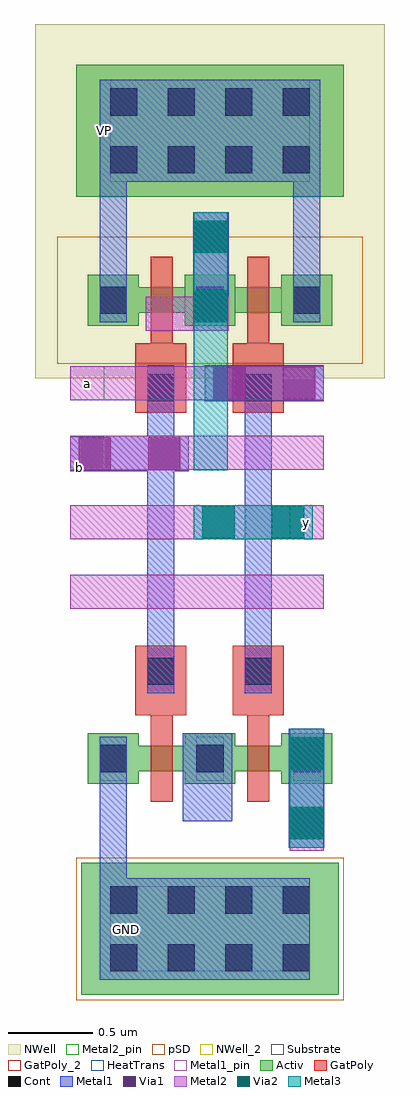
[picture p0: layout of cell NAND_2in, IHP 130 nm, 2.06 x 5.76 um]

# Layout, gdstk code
from math import pi, radians
import gdstk
lib = gdstk.Library(unit=1e-6, precision=1e-09)
def R(c, l, rs):  # rectangles x0, y0, x1, y1
    for r in rs: c.add(gdstk.rectangle(r[:2], r[2:], *l))
def A(c, l, x, y, w, h, nx, ny, dx, dy):  # array of equal rectangles
    R(c, l, [(x+i*dx, y+j*dy, x+i*dx+w, y+j*dy+h) for i in range(nx) for j in range(ny)])
Activ = (1, 0)
GatPoly = (5, 0)
GatPoly_2 = (5, 2)
Cont = (6, 0)
Metal1 = (8, 0)
Metal1_pin = (8, 2)
Metal2 = (10, 0)
Metal2_pin = (10, 2)
pSD = (14, 0)
Via1 = (19, 0)
Via2 = (29, 0)
Metal3 = (30, 0)
NWell = (31, 0)
NWell_2 = (31, 2)
Substrate = (40, 0)
HeatTrans = (51, 0)

nmos = lib.new_cell('nmos')
R(nmos, Activ, [(0,0,0.3,0.3), (0.57,0,0.87,0.3), (0,0.075,0.87,0.225)])
R(nmos, GatPoly, [(0.37,-0.105,0.5,0.405)])
R(nmos, GatPoly_2, [(0.37,-0.105,0.5,0.405)])
R(nmos, Cont, [(0.07,0.07,0.23,0.23), (0.64,0.07,0.8,0.23)])
R(nmos, Metal1, [(0.07,0.02,0.23,0.28), (0.64,0.02,0.8,0.28)])
R(nmos, Metal1_pin, [(0.07,0.02,0.23,0.28), (0.64,0.02,0.8,0.28)])
R(nmos, HeatTrans, [(0.37,-0.105,0.5,0.405)])
nmos.add(gdstk.Label('nmos', (0.435,0.15), layer=63, texttype=0))
nmos.add(gdstk.Label('nmos', (0.435,0.15), layer=51, texttype=0))

ptap1 = lib.new_cell('ptap1')
R(ptap1, Activ, [(0,0,1.52,0.78)])
A(ptap1, Cont, 0.17, 0.14, 0.16, 0.16, 4, 2, 0.34, 0.34)
R(ptap1, Metal1, [(0.17,0.09,1.35,0.69), (0.17,0.14,1.35,0.64)])
R(ptap1, Metal1_pin, [(0.17,0.14,1.35,0.64)])
R(ptap1, pSD, [(-0.03,-0.03,1.55,0.81)])
R(ptap1, Substrate, [(0,0,1.52,0.78)])
ptap1.add(gdstk.Label('sub!', (0.76,0.01), layer=63, texttype=0))
ptap1.add(gdstk.Label('sub!', (0.76,0.01), layer=40, texttype=0))

via = lib.new_cell('Via')
R(via, GatPoly, [(-0.15,-0.15,0.15,0.15)])
R(via, Cont, [(-0.08,-0.08,0.08,0.08)])
R(via, Metal1, [(-0.13,-0.08,0.13,0.08)])

via_7 = lib.new_cell('Via$7')
R(via_7, Metal2, [(-0.35,-0.1,0.35,0.1)])
R(via_7, Via2, [(-0.3,-0.095,-0.11,0.095), (0.11,-0.095,0.3,0.095)])
R(via_7, Metal3, [(-0.35,-0.1,0.35,0.1)])

via_2 = lib.new_cell('Via$2')
R(via_2, Metal1, [(-0.105,-0.35,0.105,0.35)])
R(via_2, Metal2, [(-0.1,-0.35,0.1,0.35)])
R(via_2, Via1, [(-0.095,-0.3,0.095,-0.11), (-0.095,0.11,0.095,0.3)])

via_4 = lib.new_cell('Via$4')
R(via_4, Metal2, [(-0.1,-0.35,0.1,0.35)])
R(via_4, Via2, [(-0.095,-0.3,0.095,-0.11), (-0.095,0.11,0.095,0.3)])
R(via_4, Metal3, [(-0.1,-0.35,0.1,0.35)])

pmos = lib.new_cell('pmos')
R(pmos, Activ, [(0,0,0.3,0.3), (0.57,0,0.87,0.3), (0,0.075,0.87,0.225)])
R(pmos, GatPoly, [(0.37,-0.105,0.5,0.405), (0.37,-0.105,0.5,0.405)])
R(pmos, Cont, [(0.07,0.07,0.23,0.23), (0.64,0.07,0.8,0.23)])
R(pmos, Metal1, [(0.07,0.02,0.23,0.28), (0.07,0.02,0.23,0.28), (0.64,0.02,0.8,0.28), (0.64,0.02,0.8,0.28)])
R(pmos, pSD, [(-0.18,-0.225,1.05,0.525)])
R(pmos, NWell, [(-0.31,-0.31,1.18,0.61)])
R(pmos, Substrate, [(0.57,0,0.87,0.3)])
R(pmos, HeatTrans, [(0.37,-0.105,0.5,0.405)])
pmos.add(gdstk.Label('pmos', (0.435,0.15), layer=63, texttype=0))
pmos.add(gdstk.Label('pmos', (0.435,0.15), layer=51, texttype=0))

ntap1 = lib.new_cell('ntap1')
R(ntap1, Activ, [(0,0,1.58,0.78)])
A(ntap1, Cont, 0.2, 0.14, 0.16, 0.16, 4, 2, 0.34, 0.34)
R(ntap1, Metal1, [(0.2,0.09,1.38,0.69)])
R(ntap1, Metal1_pin, [(0.2,0.09,1.38,0.69), (0.2,0.14,1.38,0.64)])
R(ntap1, NWell, [(-0.24,-0.24,1.82,1.02), (0,0,1.58,0.78)])
R(ntap1, NWell_2, [(0,0,1.58,0.78)])
ntap1.add(gdstk.Label('well', (0.79,0.01), layer=63, texttype=0))
ntap1.add(gdstk.Label('well', (0.79,0.01), layer=31, texttype=0))

nand_2in = lib.new_cell('NAND_2in')
R(nand_2in, GatPoly, [(6.865,7.06,7.165,7.17), (7.44,7.06,7.74,7.17), (6.865,9.145,7.165,9.255), (7.44,9.145,7.74,9.255)])
R(nand_2in, Metal1, [(7.145,6.435,7.435,6.955)])
R(nand_2in, Metal1_pin, [(6.715,5.695,6.915,5.895), (6.715,10.41,6.915,10.61)])
R(nand_2in, Metal2_pin, [(7.775,8.1,7.975,8.3), (6.48,8.505,6.68,8.705), (6.48,8.92,6.68,9.12)])
nand_2in.add(gdstk.FlexPath([(6.735,6.1),(6.735,5.5)], 0.16, ends="flush", simple_path=True, layer=8, datatype=0))  # Metal1
nand_2in.add(gdstk.FlexPath([(7.875,6.63),(7.875,6.63)], 0.16, ends="flush", simple_path=True, layer=8, datatype=0))  # Metal1
nand_2in.add(gdstk.FlexPath([(6.735,6.675),(6.735,6.1)], 0.16, ends="flush", simple_path=True, layer=8, datatype=0))  # Metal1
nand_2in.add(gdstk.FlexPath([(7.015,7.45),(7.015,8.76)], 0.16, ends="flush", simple_path=True, layer=8, datatype=0))  # Metal1
nand_2in.add(gdstk.FlexPath([(7.59,7.45),(7.59,8.63)], 0.16, ends="flush", simple_path=True, layer=8, datatype=0))  # Metal1
nand_2in.add(gdstk.FlexPath([(7.875,10.21),(7.875,10.81)], 0.16, ends="flush", simple_path=True, layer=8, datatype=0))  # Metal1
nand_2in.add(gdstk.FlexPath([(6.735,10.21),(6.735,10.81)], 0.16, ends="flush", simple_path=True, layer=8, datatype=0))  # Metal1
nand_2in.add(gdstk.FlexPath([(7.015,8.73),(7.015,8.73)], 0.16, ends="flush", simple_path=True, layer=8, datatype=0))  # Metal1
nand_2in.add(gdstk.FlexPath([(7.59,8.515),(7.59,8.865)], 0.16, ends="flush", simple_path=True, layer=8, datatype=0))  # Metal1
nand_2in.add(gdstk.FlexPath([(7.015,8.865),(7.015,8.645)], 0.16, ends="flush", simple_path=True, layer=8, datatype=0))  # Metal1
nand_2in.add(gdstk.FlexPath([(7.875,9.64),(7.875,10.81)], 0.16, ends="flush", simple_path=True, layer=8, datatype=0))  # Metal1
nand_2in.add(gdstk.FlexPath([(6.735,9.64),(6.735,10.81)], 0.16, ends="flush", simple_path=True, layer=8, datatype=0))  # Metal1
nand_2in.add(gdstk.FlexPath([(7.875,6.63),(7.875,6.63)], 0.2, ends="flush", simple_path=True, layer=10, datatype=0))  # Metal2
nand_2in.add(gdstk.FlexPath([(6.48,8.2),(7.975,8.2)], 0.2, ends="flush", simple_path=True, layer=10, datatype=0))  # Metal2
nand_2in.add(gdstk.FlexPath([(6.48,8.61),(7.975,8.61)], 0.2, ends="flush", simple_path=True, layer=10, datatype=0))  # Metal2
nand_2in.add(gdstk.FlexPath([(6.48,7.79),(7.975,7.79)], 0.2, ends="flush", simple_path=True, layer=10, datatype=0))  # Metal2
nand_2in.add(gdstk.FlexPath([(6.48,9.02),(7.975,9.02)], 0.2, ends="flush", simple_path=True, layer=10, datatype=0))  # Metal2
nand_2in.add(gdstk.FlexPath([(7.415,9.43),(6.925,9.43)], 0.2, ends="flush", simple_path=True, layer=10, datatype=0))  # Metal2
nand_2in.add(gdstk.FlexPath([(7.875,6.36),(7.875,6.26)], 0.2, ends="flush", simple_path=True, layer=10, datatype=0))  # Metal2
nand_2in.add(gdstk.FlexPath([(7.31,9.45),(7.31,8.505)], 0.2, ends="flush", simple_path=True, layer=30, datatype=0))  # Metal3
nand_2in.add(gdstk.FlexPath([(7.02,9.255),(7.02,9.255)], 0.16, ends="flush", simple_path=True, layer=5, datatype=0))  # GatPoly
nand_2in.add(gdstk.Reference(nmos, (6.585,6.655)))
nand_2in.add(gdstk.Reference(nmos, (7.155,6.655)))
nand_2in.add(gdstk.Reference(ptap1, (6.545,5.41)))
nand_2in.add(gdstk.Reference(via, (7.59,7.32), rotation=3*pi/2))
nand_2in.add(gdstk.Reference(via, (7.015,7.32), rotation=3*pi/2))
nand_2in.add(gdstk.Reference(via_7, (7.56,8.2)))
nand_2in.add(gdstk.Reference(via_2, (6.83,8.605), rotation=3*pi/2))
nand_2in.add(gdstk.Reference(via_4, (7.875,6.63), rotation=pi))
nand_2in.add(gdstk.Reference(via_4, (7.31,9.68), rotation=pi))
nand_2in.add(gdstk.Reference(via_2, (7.31,9.68), rotation=pi))
nand_2in.add(gdstk.Reference(via_2, (7.625,9.02), rotation=3*pi/2))
nand_2in.add(gdstk.Reference(via, (7.59,8.995), rotation=pi/2))
nand_2in.add(gdstk.Reference(pmos, (7.155,9.36)))
nand_2in.add(gdstk.Reference(via, (7.015,8.995), rotation=pi/2))
nand_2in.add(gdstk.Reference(ntap1, (6.515,10.12)))
nand_2in.add(gdstk.Reference(pmos, (6.585,9.36)))
nand_2in.add(gdstk.Reference(via_2, (7.875,6.63), rotation=pi))
nand_2in.add(gdstk.Label('y', (7.875,8.2), layer=10, texttype=25))
nand_2in.add(gdstk.Label('b', (6.535,8.52), layer=10, texttype=25))
nand_2in.add(gdstk.Label('a', (6.58,9.02), layer=10, texttype=25))
nand_2in.add(gdstk.Label('GND', (6.815,5.795), layer=8, texttype=25))
nand_2in.add(gdstk.Label('VP', (6.685,10.51), layer=8, texttype=25))

lib.write_gds('NAND_2in.gds')
